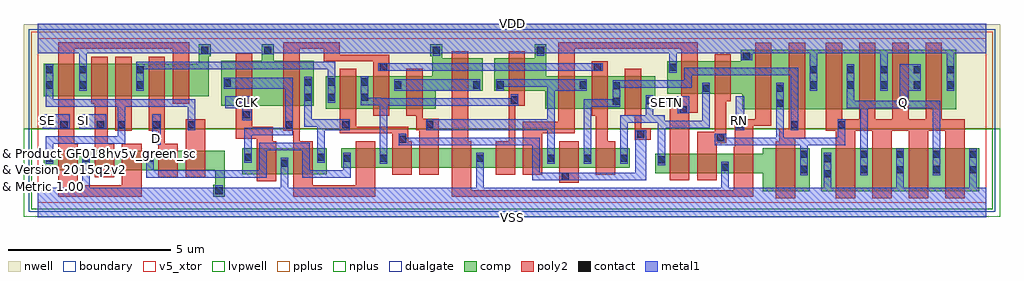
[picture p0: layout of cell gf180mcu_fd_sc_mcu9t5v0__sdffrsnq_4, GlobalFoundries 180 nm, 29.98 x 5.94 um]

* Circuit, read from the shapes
.subckt gf180mcu_fd_sc_mcu9t5v0__sdffrsnq_4 CLK D Q RN SE SETN SI VDD VSS
XM1 VSS SE n1 VSUBS nfet_05v0 w=0.59u l=0.6u
XM2 n2 SI VSS VSUBS nfet_05v0 w=0.59u l=0.6u
XM3 n3 SE n2 VSUBS nfet_05v0 w=0.59u l=0.6u
XM4 n4 D n3 VSUBS nfet_05v0 w=0.59u l=0.6u
XM5 VSS n1 n4 VSUBS nfet_05v0 w=0.59u l=0.6u
XM6 VSS CLK n5 VSUBS nfet_05v0 w=0.79u l=0.6u
XM7 n6 n5 VSS VSUBS nfet_05v0 w=0.79u l=0.6u
XM8 n7 n5 n3 VSUBS nfet_05v0 w=0.59u l=0.6u
XM9 n8 n6 n7 VSUBS nfet_05v0 w=0.59u l=0.6u
XM10 n9 n10 n8 VSUBS nfet_05v0 w=0.59u l=0.6u
XM11 VSS RN n9 VSUBS nfet_05v0 w=0.59u l=0.6u
XM12 n11 n7 VSS VSUBS nfet_05v0 w=0.59u l=0.6u
XM13 n10 SETN n11 VSUBS nfet_05v0 w=0.59u l=0.6u
XM14 n12 n6 n10 VSUBS nfet_05v0 w=0.59u l=0.6u
XM15 n13 n5 n12 VSUBS nfet_05v0 w=0.59u l=0.6u
XM16 n14 SETN n13 VSUBS nfet_05v0 w=0.59u l=0.6u
XM17 VSS n15 n14 VSUBS nfet_05v0 w=0.59u l=0.6u
XM18 n16 RN VSS VSUBS nfet_05v0 w=0.59u l=0.6u
XM19 n15 n12 n16 VSUBS nfet_05v0 w=1.32u l=0.6u
XM20 Q n15 VSS VSUBS nfet_05v0 w=1.32u l=0.6u m=4
XM21 VDD SE n1 n17 pfet_05v0 w=1u l=0.5u
XM22 n18 SI VDD n17 pfet_05v0 w=1u l=0.5u
XM23 n19 n1 n18 n17 pfet_05v0 w=1u l=0.5u
XM24 n20 D n19 n17 pfet_05v0 w=1u l=0.5u
XM25 VDD SE n20 n17 pfet_05v0 w=1u l=0.5u
XM26 VDD CLK n5 n17 pfet_05v0 w=1.38u l=0.5u
XM27 n6 n5 VDD n17 pfet_05v0 w=1.38u l=0.5u
XM28 n7 n6 n19 n17 pfet_05v0 w=1u l=0.5u
XM29 n21 n5 n7 n17 pfet_05v0 w=1u l=0.5u
XM30 VDD n10 n21 n17 pfet_05v0 w=1u l=0.5u
XM31 n21 RN VDD n17 pfet_05v0 w=1u l=0.5u
XM32 VDD n7 n10 n17 pfet_05v0 w=1u l=0.5u
XM33 n10 SETN VDD n17 pfet_05v0 w=1u l=0.5u
XM34 n12 n5 n10 n17 pfet_05v0 w=1u l=0.5u
XM35 n13 n6 n12 n17 pfet_05v0 w=1u l=0.5u
XM36 n13 SETN VDD n17 pfet_05v0 w=1u l=0.5u
XM37 VDD n15 n13 n17 pfet_05v0 w=1u l=0.5u
XM38 n15 RN VDD n17 pfet_05v0 w=1.83u l=0.5u
XM39 VDD n12 n15 n17 pfet_05v0 w=1.83u l=0.5u
XM40 Q n15 VDD n17 pfet_05v0 w=1.83u l=0.5u m=4
.ends

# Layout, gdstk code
import gdstk
lib = gdstk.Library(unit=1e-6, precision=1e-09)
def R(c, l, rs):  # rectangles x0, y0, x1, y1
    for r in rs: c.add(gdstk.rectangle(r[:2], r[2:], *l))
def A(c, l, x, y, w, h, nx, ny, dx, dy):  # array of equal rectangles
    R(c, l, [(x+i*dx, y+j*dy, x+i*dx+w, y+j*dy+h) for i in range(nx) for j in range(ny)])
def P(c, l, *ps):  # polygons
    for p in ps: c.add(gdstk.Polygon(p, *l))
boundary = (0, 0)
nwell = (21, 0)
comp = (22, 0)
poly2 = (30, 0)
pplus = (31, 0)
nplus = (32, 0)
contact = (33, 0)
metal1 = (34, 0)
dualgate = (55, 0)
v5_xtor = (112, 1)
lvpwell = (204, 0)

gf180mcu_fd_sc_mcu9t5v0_ = lib.new_cell('gf180mcu_fd_sc_mcu9t5v0__sdffrsnq_4')
R(gf180mcu_fd_sc_mcu9t5v0_, boundary, [(0,0,29.12,5.04)])
R(gf180mcu_fd_sc_mcu9t5v0_, nwell, [(-0.43,2.265,29.55,5.47)])
R(gf180mcu_fd_sc_mcu9t5v0_, comp, [(24.065,0.345,28.905,1.665), (6.275,0.875,8.875,1.665), (9.315,1.075,18.175,1.665)])
P(gf180mcu_fd_sc_mcu9t5v0_, comp, [(0.18,3.26),(0.18,4.26),(4.94,4.26),(4.94,4.855),(5.3,4.855),(5.3,4.495),(5.24,4.495),(5.24,3.26)],
  [(5.38,0.18),(5.38,0.54),(5.44,0.54),(5.44,0.995),(0.18,0.995),(0.18,1.585),(5.74,1.585),(5.74,0.18)],
  [(5.635,2.98),(5.635,4.36),(6.875,4.36),(6.875,4.855),(7.235,4.855),(7.235,4.36),(8.475,4.36),(8.475,2.98)],
  [(8.835,2.885),(8.835,3.885),(12.115,3.885),(12.115,4.5),(12.055,4.5),(12.055,4.86),(12.415,4.86),(12.415,4.43),(13.655,4.43),(13.655,3.43),(12.215,3.43),(12.215,2.885)],
  [(15.585,2.885),(15.585,3.43),(14.015,3.43),(14.015,4.43),(15.255,4.43),(15.255,4.86),(15.615,4.86),(15.615,3.885),(18.965,3.885),(18.965,2.885)],
  [(22.265,0.345),(22.265,0.905),(18.965,0.905),(18.965,1.495),(22.265,1.495),(22.265,1.665),(23.705,1.665),(23.705,0.345)],
  [(21.625,2.865),(21.625,3.335),(19.325,3.335),(19.325,4.335),(21.585,4.335),(21.585,4.695),(28.205,4.695),(28.205,2.865)])
R(gf180mcu_fd_sc_mcu9t5v0_, poly2, [(16.015,0.615,16.615,1.885), (4.54,0.775,5.14,2.565), (2.38,2.205,2.88,4.48)])
P(gf180mcu_fd_sc_mcu9t5v0_, poly2, [(1.74,0.775),(1.74,3.04),(1.64,3.04),(1.64,4.48),(2.14,4.48),(2.14,1.805),(2.34,1.805),(2.34,0.775)],
  [(3.7,0.775),(3.7,2.205),(3.4,2.205),(3.4,4.48),(3.9,4.48),(3.9,1.805),(4.3,1.805),(4.3,0.775)],
  [(0.62,0.175),(0.62,4.92),(4.64,4.92),(4.64,3.04),(4.14,3.04),(4.14,4.72),(1.12,4.72),(1.12,1.805),(1.22,1.805),(1.22,0.535),(2.58,0.535),(2.58,1.805),(3.18,1.805),(3.18,0.175)],
  [(6.715,0.655),(6.715,1.965),(6.075,1.965),(6.075,4.58),(6.575,4.58),(6.575,2.325),(7.215,2.325),(7.215,1.885),(7.315,1.885),(7.315,0.655)],
  [(7.835,0.175),(7.835,2.205),(7.535,2.205),(7.535,4.92),(9.275,4.92),(9.275,4.545),(10.795,4.545),(10.795,2.665),(10.295,2.665),(10.295,4.345),(8.775,4.345),(8.775,4.72),(8.035,4.72),(8.035,1.885),(8.435,1.885),(8.435,0.535),(9.755,0.535),(9.755,1.885),(10.355,1.885),(10.355,0.175)],
  [(10.875,0.855),(10.875,2.125),(9.275,2.125),(9.275,4.105),(9.775,4.105),(9.775,2.325),(11.375,2.325),(11.375,1.885),(11.475,1.885),(11.475,0.855)],
  [(11.715,0.855),(11.715,2.225),(11.615,2.225),(11.615,2.665),(11.315,2.665),(11.315,4.105),(11.815,4.105),(11.815,2.575),(12.315,2.575),(12.315,0.855)],
  [(14.055,0.855),(14.055,1.885),(14.455,1.885),(14.455,4.65),(14.955,4.65),(14.955,2.97),(14.655,2.97),(14.655,0.855)],
  [(17.135,0.855),(17.135,2.665),(17.005,2.665),(17.005,4.345),(17.505,4.345),(17.505,1.885),(17.735,1.885),(17.735,0.855)],
  [(18.325,1.925),(18.325,2.665),(18.025,2.665),(18.025,4.105),(18.525,4.105),(18.525,2.285),(18.825,2.285),(18.825,1.925)],
  [(19.405,0.685),(19.405,3.035),(19.765,3.035),(19.765,4.72),(16.485,4.72),(16.485,2.125),(15.495,2.125),(15.495,0.855),(14.895,0.855),(14.895,2.485),(15.985,2.485),(15.985,4.92),(20.265,4.92),(20.265,2.765),(20.005,2.765),(20.005,0.685)],
  [(20.245,0.685),(20.245,2.17),(20.785,2.17),(20.785,4.555),(21.285,4.555),(21.285,3.115),(21.145,3.115),(21.145,1.815),(20.845,1.815),(20.845,0.685)],
  [(12.715,0.175),(12.715,4.65),(13.215,4.65),(13.215,1.885),(13.315,1.885),(13.315,0.375),(21.365,0.375),(21.365,1.715),(21.395,1.715),(21.395,2.565),(22.025,2.565),(22.025,4.915),(22.525,4.915),(22.525,2.365),(21.965,2.365),(21.965,0.175)],
  [(22.665,0.125),(22.665,1.885),(22.765,1.885),(22.765,2.265),(23.065,2.265),(23.065,4.915),(23.565,4.915),(23.565,1.965),(23.265,1.965),(23.265,0.125)],
  [(24.505,0.125),(24.505,2.2),(24.205,2.2),(24.205,4.915),(24.705,4.915),(24.705,2.565),(25.225,2.565),(25.225,4.915),(25.725,4.915),(25.725,2.565),(26.245,2.565),(26.245,4.915),(26.745,4.915),(26.745,2.565),(27.265,2.565),(27.265,4.915),(27.765,4.915),(27.765,2.565),(28.465,2.565),(28.465,0.125),(27.865,0.125),(27.865,2.2),(27.345,2.2),(27.345,0.125),(26.745,0.125),(26.745,2.2),(26.225,2.2),(26.225,0.125),(25.625,0.125),(25.625,2.2),(25.105,2.2),(25.105,0.125)])
R(gf180mcu_fd_sc_mcu9t5v0_, pplus, [(-0.2,2.265,29.32,5.24)])
R(gf180mcu_fd_sc_mcu9t5v0_, nplus, [(-0.2,-0.2,29.32,2.265)])
A(gf180mcu_fd_sc_mcu9t5v0_, contact, 15.645, 1.255, 0.22, 0.22, 3, 1, 1.12, 0)
A(gf180mcu_fd_sc_mcu9t5v0_, contact, 24.855, 3.5, 0.22, 0.22, 4, 2, 1.02, 0.47)
R(gf180mcu_fd_sc_mcu9t5v0_, contact, [(5.45,0.25,5.67,0.47), (16.085,0.685,16.305,0.905), (24.135,0.775,24.355,0.995), (26.375,0.9,26.595,1.12), (28.615,0.9,28.835,1.12), (23.415,0.905,23.635,1.125), (25.255,0.905,25.475,1.125), (27.495,0.905,27.715,1.125), (20.995,0.975,21.215,1.195), (7.465,1.1,7.685,1.32), (19.035,1.205,19.255,1.425), (24.135,1.245,24.355,1.465), (0.25,1.255,0.47,1.475), (1.37,1.255,1.59,1.475), (3.33,1.255,3.55,1.475), (9.385,1.255,9.605,1.475), (10.505,1.255,10.725,1.475), (13.465,1.255,13.685,1.475), (6.345,1.28,6.565,1.5), (8.585,1.28,8.805,1.5), (26.375,1.37,26.595,1.59), (28.615,1.37,28.835,1.59), (23.415,1.375,23.635,1.595), (25.255,1.375,25.475,1.595), (27.495,1.375,27.715,1.595), (11.085,1.835,11.305,2.055), (20.855,1.885,21.075,2.105), (18.4,1.995,18.62,2.215), (0.69,2.275,0.91,2.495), (1.81,2.275,2.03,2.495), (2.45,2.275,2.67,2.495), (3.515,2.275,3.735,2.495), (4.61,2.275,4.83,2.495), (7.605,2.275,7.825,2.495), (9.345,2.275,9.565,2.495), (21.465,2.275,21.685,2.495), (23.135,2.275,23.355,2.495), (24.575,2.275,24.795,2.495), (11.925,2.285,12.145,2.505), (6.285,2.59,6.505,2.81), (19.715,2.745,19.935,2.965), (22.675,2.935,22.895,3.155), (17.655,3.005,17.875,3.225), (18.675,3.015,18.895,3.235), (14.525,3.04,14.745,3.26), (8.185,3.12,8.405,3.34), (8.905,3.125,9.125,3.345), (9.925,3.125,10.145,3.345), (20.415,3.405,20.635,3.625), (22.675,3.405,22.895,3.625), (17.655,3.475,17.875,3.695), (0.25,3.5,0.47,3.72), (1.27,3.5,1.49,3.72), (3.03,3.5,3.25,3.72), (10.945,3.5,11.165,3.72), (13.365,3.5,13.585,3.72), (14.085,3.5,14.305,3.72), (16.635,3.5,16.855,3.72), (23.715,3.5,23.935,3.72), (5.705,3.56,5.925,3.78), (8.185,3.59,8.405,3.81), (8.905,3.595,9.125,3.815), (9.925,3.595,10.145,3.815), (0.25,3.97,0.47,4.19), (1.27,3.97,1.49,4.19), (3.03,3.97,3.25,4.19), (23.715,3.97,23.935,4.19), (19.395,4.045,19.615,4.265), (10.505,4.055,10.725,4.275), (17.075,4.055,17.295,4.275), (21.655,4.38,21.875,4.6), (5.01,4.565,5.23,4.785), (6.945,4.565,7.165,4.785), (12.125,4.57,12.345,4.79), (15.325,4.57,15.545,4.79)])
R(gf180mcu_fd_sc_mcu9t5v0_, metal1, [(3.51,1.77,3.77,2.71), (21.43,2.215,21.69,3.27), (0.15,2.27,0.97,2.71), (1.27,2.27,2.09,2.71), (10.94,3.44,13.59,3.78), (10.445,4.05,17.355,4.28)])
P(gf180mcu_fd_sc_mcu9t5v0_, metal1, [(0.245,1.195),(0.245,2.04),(2.445,2.04),(2.445,2.94),(0.245,2.94),(0.245,4.25),(0.475,4.25),(0.475,3.17),(4.835,3.17),(4.835,2.215),(4.605,2.215),(4.605,2.94),(2.675,2.94),(2.675,1.81),(0.475,1.81),(0.475,1.195)],
  [(6.28,2.53),(6.28,2.89),(5.75,2.89),(5.75,3.27),(6.57,3.27),(6.57,2.53)],
  [(6.34,1.22),(6.34,2.3),(7.6,2.3),(7.6,3.5),(5.7,3.5),(5.7,3.84),(7.83,3.84),(7.83,2.07),(6.57,2.07),(6.57,1.22)],
  [(8.9,3.065),(8.9,4.1),(3.255,4.1),(3.255,3.44),(3.025,3.44),(3.025,4.33),(9.13,4.33),(9.13,3.065)],
  [(8.58,1.22),(8.58,2.325),(8.18,2.325),(8.18,3.87),(8.41,3.87),(8.41,2.555),(9.57,2.555),(9.57,2.215),(8.81,2.215),(8.81,1.22)],
  [(3.325,0.76),(3.325,1.535),(3.555,1.535),(3.555,0.99),(6.8,0.99),(6.8,1.84),(8.35,1.84),(8.35,0.99),(9.38,0.99),(9.38,1.535),(9.61,1.535),(9.61,0.76),(8.12,0.76),(8.12,1.61),(7.03,1.61),(7.03,0.76)],
  [(10.5,1.195),(10.5,2.985),(9.92,2.985),(9.92,3.875),(10.15,3.875),(10.15,3.215),(10.55,3.215),(10.55,3.21),(14.52,3.21),(14.52,3.32),(14.75,3.32),(14.75,2.98),(10.73,2.98),(10.73,1.195)],
  [(15.64,1.195),(15.64,2.225),(11.92,2.225),(11.92,2.565),(15.64,2.565),(15.64,3.55),(14.31,3.55),(14.31,3.44),(14.08,3.44),(14.08,3.78),(16.86,3.78),(16.86,3.44),(15.87,3.44),(15.87,1.195)],
  [(15.18,0.68),(15.18,1.765),(11.08,1.765),(11.08,2.115),(11.31,2.115),(11.31,1.995),(15.41,1.995),(15.41,0.91),(18.34,0.91),(18.34,2.22),(18.68,2.22),(18.68,0.68)],
  [(19.655,2.74),(19.655,2.95),(19.13,2.95),(19.13,3.27),(20.01,3.27),(20.01,2.74)],
  [(19.03,1.145),(19.03,2.45),(18.11,2.45),(18.11,1.195),(17.88,1.195),(17.88,2.68),(18.67,2.68),(18.67,3.295),(18.9,3.295),(18.9,2.68),(19.255,2.68),(19.255,2.51),(20.41,2.51),(20.41,3.685),(20.64,3.685),(20.64,2.28),(19.26,2.28),(19.26,1.145)],
  [(16.76,1.195),(16.76,3.175),(17.65,3.175),(17.65,3.755),(19.85,3.755),(19.85,4.145),(23.36,4.145),(23.36,2.215),(23.13,2.215),(23.13,3.915),(20.08,3.915),(20.08,3.525),(17.88,3.525),(17.88,2.945),(16.99,2.945),(16.99,1.195)],
  [(23.41,0.845),(23.41,1.755),(20.795,1.755),(20.795,2.11),(21.135,2.11),(21.135,1.985),(22.67,1.985),(22.67,3.685),(22.9,3.685),(22.9,1.985),(24.57,1.985),(24.57,2.555),(24.8,2.555),(24.8,1.755),(23.64,1.755),(23.64,0.845)],
  [(25.25,0.845),(25.25,2.89),(24.85,2.89),(24.85,4.25),(25.08,4.25),(25.08,3.12),(26.47,3.12),(26.47,4.25),(27.12,4.25),(27.12,3.44),(26.73,3.44),(26.73,3.12),(27.72,3.12),(27.72,0.845),(27.49,0.845),(27.49,2.89),(25.48,2.89),(25.48,0.845)],
  [(0,-0.45),(0,0.45),(1.365,0.45),(1.365,1.535),(1.595,1.535),(1.595,0.45),(5.445,0.45),(5.445,0.53),(5.675,0.53),(5.675,0.45),(7.46,0.45),(7.46,1.38),(7.69,1.38),(7.69,0.45),(13.46,0.45),(13.46,1.535),(13.69,1.535),(13.69,0.45),(20.99,0.45),(20.99,1.255),(21.22,1.255),(21.22,0.45),(24.13,0.45),(24.13,1.525),(24.36,1.525),(24.36,0.45),(26.37,0.45),(26.37,1.65),(26.6,1.65),(26.6,0.45),(28.61,0.45),(28.61,1.65),(28.84,1.65),(28.84,0.45),(29.12,0.45),(29.12,-0.45)],
  [(1.265,3.44),(1.265,4.59),(0,4.59),(0,5.49),(29.12,5.49),(29.12,4.59),(28.14,4.59),(28.14,3.44),(27.91,3.44),(27.91,4.59),(26.1,4.59),(26.1,3.44),(25.87,3.44),(25.87,4.59),(23.94,4.59),(23.94,3.44),(23.71,3.44),(23.71,4.59),(21.935,4.59),(21.935,4.375),(21.595,4.375),(21.595,4.59),(19.62,4.59),(19.62,3.985),(19.39,3.985),(19.39,4.59),(15.55,4.59),(15.55,4.51),(15.32,4.51),(15.32,4.59),(12.35,4.59),(12.35,4.51),(12.12,4.51),(12.12,4.59),(7.225,4.59),(7.225,4.56),(6.885,4.56),(6.885,4.59),(5.29,4.59),(5.29,4.56),(4.95,4.56),(4.95,4.59),(1.495,4.59),(1.495,3.44)])
R(gf180mcu_fd_sc_mcu9t5v0_, dualgate, [(-0.28,-0.28,29.4,5.32)])
R(gf180mcu_fd_sc_mcu9t5v0_, v5_xtor, [(0,0,29.12,5.04)])
R(gf180mcu_fd_sc_mcu9t5v0_, lvpwell, [(-0.43,-0.43,29.55,2.265)])
gf180mcu_fd_sc_mcu9t5v0_.add(gdstk.Label('CLK', (6.44,3.08), layer=34, texttype=10))
gf180mcu_fd_sc_mcu9t5v0_.add(gdstk.Label('D', (3.64,1.96), layer=34, texttype=10))
gf180mcu_fd_sc_mcu9t5v0_.add(gdstk.Label('Q', (26.6,3.08), layer=34, texttype=10))
gf180mcu_fd_sc_mcu9t5v0_.add(gdstk.Label('RN', (21.56,2.52), layer=34, texttype=10))
gf180mcu_fd_sc_mcu9t5v0_.add(gdstk.Label('SE', (0.28,2.52), layer=34, texttype=10))
gf180mcu_fd_sc_mcu9t5v0_.add(gdstk.Label('SETN', (19.32,3.08), layer=34, texttype=10))
gf180mcu_fd_sc_mcu9t5v0_.add(gdstk.Label('SI', (1.4,2.52), layer=34, texttype=10))
gf180mcu_fd_sc_mcu9t5v0_.add(gdstk.Label('VDD', (14.56,5.49), layer=34, texttype=10))
gf180mcu_fd_sc_mcu9t5v0_.add(gdstk.Label('VSS', (14.56,-0.45), layer=34, texttype=10))
gf180mcu_fd_sc_mcu9t5v0_.add(gdstk.Label('& Vendor GLOBALFOUNDRIES', (0,2), layer=63, texttype=63))
gf180mcu_fd_sc_mcu9t5v0_.add(gdstk.Label('& Product GF018hv5v_green_sc9', (0,1.5), layer=63, texttype=63))
gf180mcu_fd_sc_mcu9t5v0_.add(gdstk.Label('& Version 2015q2v2', (0,1), layer=63, texttype=63))
gf180mcu_fd_sc_mcu9t5v0_.add(gdstk.Label('& Metric 1.00', (0,0.5), layer=63, texttype=63))

lib.write_gds('gf180mcu_fd_sc_mcu9t5v0__sdffrsnq_4.gds')
